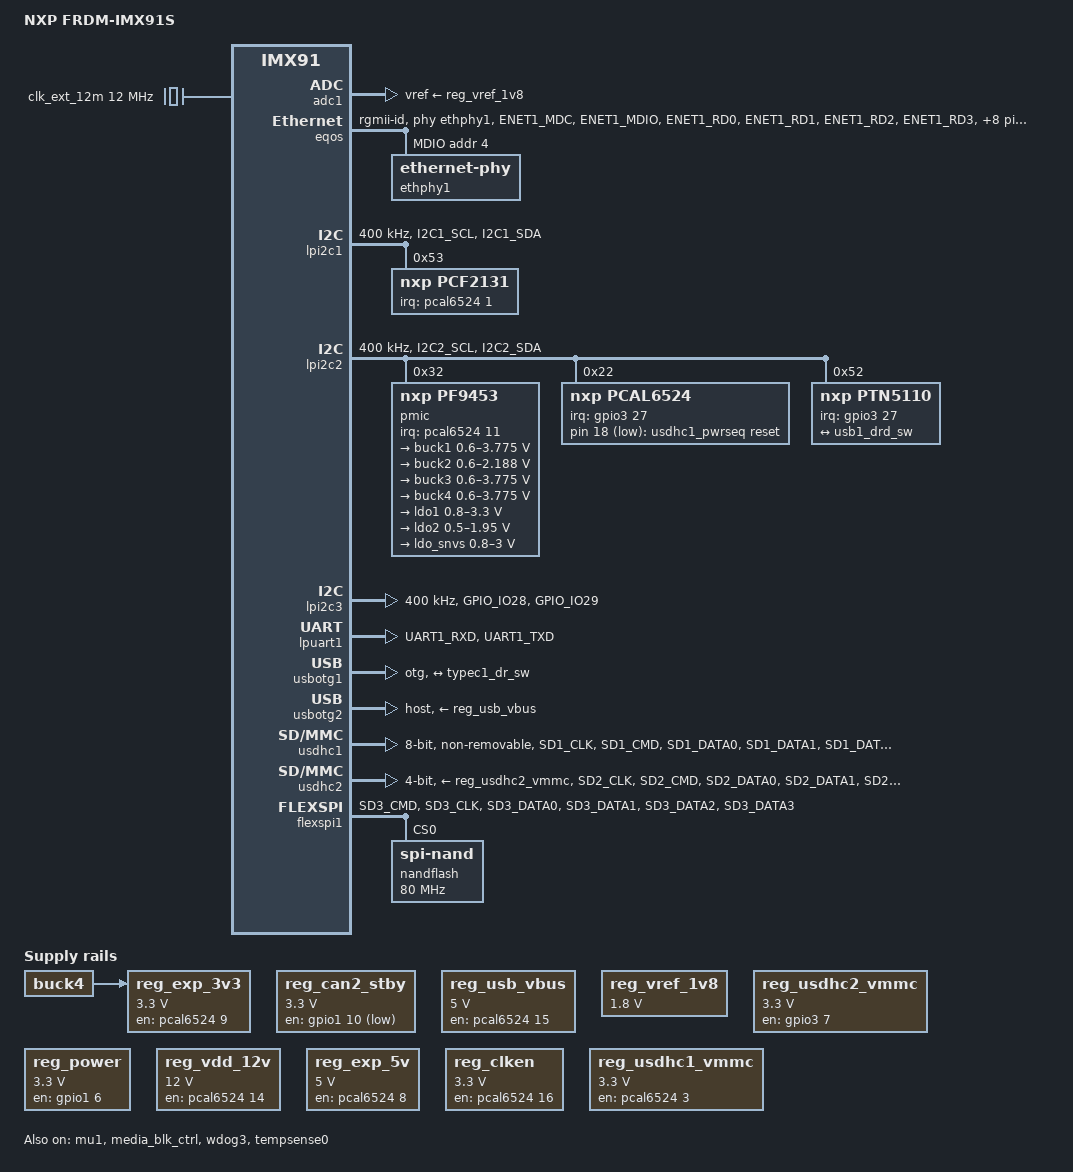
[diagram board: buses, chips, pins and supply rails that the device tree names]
// SPDX-License-Identifier: (GPL-2.0+ OR MIT)
/*
 * Copyright 2025 NXP
 */

/dts-v1/;

#include <dt-bindings/usb/pd.h>
#include "imx91.dtsi"

/ {
	model = "NXP FRDM-IMX91S";
	compatible = "fsl,frdm-imx91s", "fsl,imx91";

	aliases {
		rtc0 = &pcf2131;
	};

	chosen {
		stdout-path = &lpuart1;
	};

	reserved-memory {
		#address-cells = <2>;
		#size-cells = <2>;
		ranges;

		linux,cma {
			compatible = "shared-dma-pool";
			reusable;
			alloc-ranges = <0 0x80000000 0 0x20000000>;
			size = <0 0x2000000>;
			linux,cma-default;
		};
	};

	reg_can2_stby: regulator-can2-stby {
		compatible = "regulator-fixed";
		regulator-name = "can2-stby";
		regulator-min-microvolt = <3300000>;
		regulator-max-microvolt = <3300000>;
		gpio = <&gpio1 10 GPIO_ACTIVE_LOW>;
		enable-active-low;
	};

	reg_usb_vbus: regulator-vbus {
		compatible = "regulator-fixed";
		regulator-name = "USB_VBUS";
		regulator-min-microvolt = <5000000>;
		regulator-max-microvolt = <5000000>;
		gpio = <&pcal6524 15 GPIO_ACTIVE_HIGH>;
		enable-active-high;
	};

	reg_vref_1v8: regulator-adc-vref {
		compatible = "regulator-fixed";
		regulator-name = "vref_1v8";
		regulator-min-microvolt = <1800000>;
		regulator-max-microvolt = <1800000>;
	};

	reg_usdhc2_vmmc: regulator-usdhc2 {
		compatible = "regulator-fixed";
		pinctrl-names = "default";
		pinctrl-0 = <&pinctrl_reg_usdhc2_vmmc>;
		regulator-name = "VSD_3V3";
		regulator-min-microvolt = <3300000>;
		regulator-max-microvolt = <3300000>;
		gpio = <&gpio3 7 GPIO_ACTIVE_HIGH>;
		off-on-delay-us = <12000>;
		enable-active-high;
	};

	reg_power: regulator-power{
		compatible = "regulator-fixed";
		pinctrl-names = "default";
		pinctrl-0 = <&pinctrl_power>;
		regulator-name = "UART2_RXD_3V3";
		regulator-min-microvolt = <3300000>;
		regulator-max-microvolt = <3300000>;
		gpio = <&gpio1 6 GPIO_ACTIVE_HIGH>;
		off-on-delay-us = <12000>;
		enable-active-high;
		regulator-boot-on;
		regulator-always-on;
	};

	reg_vdd_12v: regulator-vdd-12v {
		compatible = "regulator-fixed";
		regulator-name = "reg_vdd_12v";
		regulator-min-microvolt = <12000000>;
		regulator-max-microvolt = <12000000>;
		gpio = <&pcal6524 14 GPIO_ACTIVE_HIGH>;
		enable-active-high;
	};

	reg_exp_3v3: regulator-exp-3v3 {
		compatible = "regulator-fixed";
		regulator-name = "EXP_3V3";
		gpio = <&pcal6524 9 GPIO_ACTIVE_HIGH>;
		regulator-min-microvolt = <3300000>;
		regulator-max-microvolt = <3300000>;
		enable-active-high;
		vin-supply = <&buck4>;
	};

	reg_exp_5v: regulator-exp-5v {
		compatible = "regulator-fixed";
		regulator-name = "EXP_5V";
		gpio = <&pcal6524 8 GPIO_ACTIVE_HIGH>;
		regulator-min-microvolt = <5000000>;
		regulator-max-microvolt = <5000000>;
		enable-active-high;
	};

	reg_clken: regulator-clken-3.3 {
		compatible = "regulator-fixed";
		regulator-name = "clken_3.3V";
		gpio = <&pcal6524 16 GPIO_ACTIVE_HIGH>;
		regulator-min-microvolt = <3300000>;
		regulator-max-microvolt = <3300000>;
		enable-active-high;
		regulator-boot-on;
		regulator-always-on;
	};

	reg_usdhc1_vmmc: regulator-usdhc1 {
		compatible = "regulator-fixed";
		regulator-name = "WLAN_EN";
		regulator-min-microvolt = <3300000>;
		regulator-max-microvolt = <3300000>;
		gpio = <&pcal6524 3 GPIO_ACTIVE_HIGH>;
		/*
		 * IW612 wifi chip needs more delay than other wifi chips to complete
		 * the host interface initialization after power up, otherwise the
		 * internal state of IW612 may be unstable, resulting in the failure of
		 * the SDIO3.0 switch voltage.
		 */
		startup-delay-us = <20000>;
		enable-active-high;
	};

	usdhc1_pwrseq: usdhc1_pwrseq {
		compatible = "mmc-pwrseq-simple";
		reset-gpios = <&pcal6524 18 GPIO_ACTIVE_LOW>;
	};

	clk_ext_12m: clock@0 {
		compatible = "fixed-clock";
		#clock-cells = <0>;
		clock-frequency = <12000000>;
	};
};

&adc1 {
	vref-supply = <&reg_vref_1v8>;
	status = "okay";
};

&mu1 {
	status = "okay";
};

&eqos {
	pinctrl-names = "default";
	pinctrl-0 = <&pinctrl_eqos>;
	phy-mode = "rgmii-id";
	phy-handle = <&ethphy1>;
	status = "okay";

	mdio {
		compatible = "snps,dwmac-mdio";
		#address-cells = <1>;
		#size-cells = <0>;
		clock-frequency = <5000000>;

		ethphy1: ethernet-phy@4 {
			reg = <4>;
			eee-broken-1000t;
		};
	};
};

&lpi2c1 {
	#address-cells = <1>;
	#size-cells = <0>;
	clock-frequency = <400000>;
	pinctrl-names = "default", "sleep";
	pinctrl-0 = <&pinctrl_lpi2c1>;
	pinctrl-1 = <&pinctrl_lpi2c1>;
	status = "okay";

	pcf2131: rtc@53 {
		 compatible = "nxp,pcf2131";
		 reg = <0x53>;
		 interrupt-parent = <&pcal6524>;
		 interrupts = <1 IRQ_TYPE_LEVEL_LOW>;
		 status = "okay";
	 };

};

&lpi2c2 {
	#address-cells = <1>;
	#size-cells = <0>;
	clock-frequency = <400000>;
	pinctrl-names = "default", "sleep";
	pinctrl-0 = <&pinctrl_lpi2c2>;
	pinctrl-1 = <&pinctrl_lpi2c2>;
	status = "okay";

	pmic@32 {
		compatible = "nxp,pf9453";
		reg = <0x32>;
		interrupt-parent = <&pcal6524>;
		interrupts = <11 IRQ_TYPE_EDGE_FALLING>;

		regulators {
			buck1: BUCK1 {
				regulator-name = "BUCK1";
				regulator-min-microvolt = <600000>;
				regulator-max-microvolt = <3775000>;
				regulator-boot-on;
				regulator-always-on;
			};

			buck2: BUCK2 {
				regulator-name = "BUCK2";
				regulator-min-microvolt = <600000>;
				regulator-max-microvolt = <2187500>;
				regulator-boot-on;
				regulator-always-on;
				regulator-ramp-delay = <12500>;
			};

			buck3: BUCK3 {
				regulator-name = "BUCK3";
				regulator-min-microvolt = <600000>;
				regulator-max-microvolt = <3775000>;
				regulator-boot-on;
				regulator-always-on;
			};

			buck4: BUCK4{
				regulator-name = "BUCK4";
				regulator-min-microvolt = <600000>;
				regulator-max-microvolt = <3775000>;
				regulator-boot-on;
				regulator-always-on;
			};

			ldo1: LDO1 {
				regulator-name = "LDO1";
				regulator-min-microvolt = <800000>;
				regulator-max-microvolt = <3300000>;
				regulator-boot-on;
				regulator-always-on;
			};

			ldo2: LDO2 {
				regulator-name = "LDO2";
				regulator-min-microvolt = <500000>;
				regulator-max-microvolt = <1950000>;
				regulator-boot-on;
				regulator-always-on;
			};

			ldo_snvs: LDO_SNVS {
				regulator-name = "LDO_SNVS";
				regulator-min-microvolt = <800000>;
				regulator-max-microvolt = <3000000>;
				regulator-boot-on;
				regulator-always-on;
			};
		};
	};

	pcal6524: gpio@22 {
		compatible = "nxp,pcal6524";
		pinctrl-names = "default";
		pinctrl-0 = <&pinctrl_pcal6524>;
		reg = <0x22>;
		gpio-controller;
		#gpio-cells = <2>;
		interrupt-controller;
		#interrupt-cells = <2>;
		interrupt-parent = <&gpio3>;
		interrupts = <27 IRQ_TYPE_LEVEL_LOW>;
	};

	ptn5110: tcpc@52 {
		compatible = "nxp,ptn5110";
		reg = <0x52>;
		interrupt-parent = <&gpio3>;
		interrupts = <27 IRQ_TYPE_LEVEL_LOW>;
		status = "okay";

		port {
			typec1_dr_sw: endpoint {
				remote-endpoint = <&usb1_drd_sw>;
			};
		};

		typec1_con: connector {
			compatible = "usb-c-connector";
			label = "USB-C";
			power-role = "dual";
			data-role = "dual";
			try-power-role = "sink";
			source-pdos = <PDO_FIXED(5000, 3000, PDO_FIXED_USB_COMM)>;
			sink-pdos = <PDO_FIXED(5000, 3000, PDO_FIXED_USB_COMM)
				     PDO_VAR(5000, 20000, 3000)>;
			op-sink-microwatt = <15000000>;
			self-powered;
		};
	};
};

&lpi2c3 {
	#address-cells = <1>;
	#size-cells = <0>;
	clock-frequency = <400000>;
	pinctrl-names = "default", "sleep";
	pinctrl-0 = <&pinctrl_lpi2c3>;
	pinctrl-1 = <&pinctrl_lpi2c3>;
	status = "okay";
};

&lpuart1 { /* console */
	pinctrl-names = "default";
	pinctrl-0 = <&pinctrl_uart1>;
	status = "okay";
};

&media_blk_ctrl {
	status = "okay";
};

&usbotg1 {
	dr_mode = "otg";
	hnp-disable;
	srp-disable;
	adp-disable;
	usb-role-switch;
	disable-over-current;
	samsung,picophy-pre-emp-curr-control = <3>;
	samsung,picophy-dc-vol-level-adjust = <7>;
	status = "okay";

	port {
		usb1_drd_sw: endpoint {
			remote-endpoint = <&typec1_dr_sw>;
		};
	};
};

&usbotg2 {
	dr_mode = "host";
	vbus-supply = <&reg_usb_vbus>;
	disable-over-current;
	samsung,picophy-pre-emp-curr-control = <3>;
	samsung,picophy-dc-vol-level-adjust = <7>;
	status = "okay";
};

&usdhc1 {
	pinctrl-names = "default", "state_100mhz", "state_200mhz";
	pinctrl-0 = <&pinctrl_usdhc1>;
	pinctrl-1 = <&pinctrl_usdhc1_100mhz>;
	pinctrl-2 = <&pinctrl_usdhc1_200mhz>;
	bus-width = <8>;
	non-removable;
	status = "okay";
};

&usdhc2 {
	pinctrl-names = "default", "state_100mhz", "state_200mhz";
	pinctrl-0 = <&pinctrl_usdhc2>, <&pinctrl_usdhc2_gpio>;
	pinctrl-1 = <&pinctrl_usdhc2_100mhz>, <&pinctrl_usdhc2_gpio>;
	pinctrl-2 = <&pinctrl_usdhc2_200mhz>, <&pinctrl_usdhc2_gpio>;
	cd-gpios = <&gpio3 00 GPIO_ACTIVE_LOW>;
	vmmc-supply = <&reg_usdhc2_vmmc>;
	bus-width = <4>;
	status = "okay";
	no-sdio;
	no-mmc;
};

&usdhc3 {
	status = "disabled";
};

&wdog3 {
	status = "okay";
};

&flexspi1 {
	pinctrl-names = "default";
	pinctrl-0 = <&pinctrl_flexspi>;
	assigned-clock-rates = <80000000>;
	status = "okay";

	nandflash: flash@0 {
		reg = <0>;
		#address-cells = <1>;
		#size-cells = <1>;
		compatible = "spi-nand";
		spi-max-frequency = <80000000>;
		spi-tx-bus-width = <4>;
		spi-rx-bus-width = <4>;
	};
};

&tempsense0 {
	status = "okay";
};

&iomuxc {
	pinctrl_eqos: eqosgrp {
		fsl,pins = <
			MX91_PAD_ENET1_MDC__ENET1_MDC			0x57e
			MX91_PAD_ENET1_MDIO__ENET_QOS_MDIO			0x57e
			MX91_PAD_ENET1_RD0__ENET_QOS_RGMII_RD0			0x57e
			MX91_PAD_ENET1_RD1__ENET_QOS_RGMII_RD1			0x57e
			MX91_PAD_ENET1_RD2__ENET_QOS_RGMII_RD2			0x57e
			MX91_PAD_ENET1_RD3__ENET_QOS_RGMII_RD3			0x57e
			MX91_PAD_ENET1_RXC__ENET_QOS_RGMII_RXC	0x5fe
			MX91_PAD_ENET1_RX_CTL__ENET_QOS_RGMII_RX_CTL		0x57e
			MX91_PAD_ENET1_TD0__ENET_QOS_RGMII_TD0			0x57e
			MX91_PAD_ENET1_TD1__ENET1_RGMII_TD1			0x57e
			MX91_PAD_ENET1_TD2__ENET_QOS_RGMII_TD2			0x57e
			MX91_PAD_ENET1_TD3__ENET_QOS_RGMII_TD3			0x57e
			MX91_PAD_ENET1_TXC__CCM_ENET_QOS_CLOCK_GENERATE_TX_CLK	0x5fe
			MX91_PAD_ENET1_TX_CTL__ENET_QOS_RGMII_TX_CTL		0x57e
		>;
	};

	pinctrl_flexspi: flexspigrp {
		fsl,pins = <
			MX91_PAD_SD3_CMD__FLEXSPI1_A_SS0_B      0x3fe
			MX91_PAD_SD3_CLK__FLEXSPI1_A_SCLK       0x3fe
			MX91_PAD_SD3_DATA0__FLEXSPI1_A_DATA0   0x3fe
			MX91_PAD_SD3_DATA1__FLEXSPI1_A_DATA1   0x3fe
			MX91_PAD_SD3_DATA2__FLEXSPI1_A_DATA2   0x3fe
			MX91_PAD_SD3_DATA3__FLEXSPI1_A_DATA3   0x3fe
		>;
	 };

	pinctrl_power: power {
		fsl,pins = <
			MX91_PAD_UART2_RXD__GPIO1_IO6              0x0000051E
			>;
	};

	pinctrl_fec: fecgrp {
		fsl,pins = <
			MX91_PAD_ENET2_MDC__ENET2_MDC			0x57e
			MX91_PAD_ENET2_MDIO__ENET2_MDIO			0x57e
			MX91_PAD_ENET2_RD0__ENET2_RGMII_RD0		0x57e
			MX91_PAD_ENET2_RD1__ENET2_RGMII_RD1		0x57e
			MX91_PAD_ENET2_RD2__ENET2_RGMII_RD2		0x57e
			MX91_PAD_ENET2_RD3__ENET2_RGMII_RD3		0x57e
			MX91_PAD_ENET2_RXC__ENET2_RGMII_RXC		0x5fe
			MX91_PAD_ENET2_RX_CTL__ENET2_RGMII_RX_CTL	0x57e
			MX91_PAD_ENET2_TD0__ENET2_RGMII_TD0		0x57e
			MX91_PAD_ENET2_TD1__ENET2_RGMII_TD1		0x57e
			MX91_PAD_ENET2_TD2__ENET2_RGMII_TD2		0x57e
			MX91_PAD_ENET2_TD3__ENET2_RGMII_TD3		0x57e
			MX91_PAD_ENET2_TXC__ENET2_RGMII_TXC		0x5fe
			MX91_PAD_ENET2_TX_CTL__ENET2_RGMII_TX_CTL	0x57e
		>;
	};

	pinctrl_lcdif: lcdifgrp {
		fsl,pins = <
			MX91_PAD_GPIO_IO00__MEDIAMIX_DISP_CLK		0x31e
			MX91_PAD_GPIO_IO01__MEDIAMIX_DISP_DE		0x31e
			MX91_PAD_GPIO_IO02__MEDIAMIX_DISP_VSYNC		0x31e
			MX91_PAD_GPIO_IO03__MEDIAMIX_DISP_HSYNC		0x31e
			MX91_PAD_GPIO_IO04__MEDIAMIX_DISP_DATA0		0x31e
			MX91_PAD_GPIO_IO05__MEDIAMIX_DISP_DATA1		0x31e
			MX91_PAD_GPIO_IO06__MEDIAMIX_DISP_DATA2		0x31e
			MX91_PAD_GPIO_IO07__MEDIAMIX_DISP_DATA3		0x31e
			MX91_PAD_GPIO_IO08__MEDIAMIX_DISP_DATA4		0x31e
			MX91_PAD_GPIO_IO09__MEDIAMIX_DISP_DATA5		0x31e
			MX91_PAD_GPIO_IO10__MEDIAMIX_DISP_DATA6		0x31e
			MX91_PAD_GPIO_IO11__MEDIAMIX_DISP_DATA7		0x31e
			MX91_PAD_GPIO_IO12__MEDIAMIX_DISP_DATA8		0x31e
			MX91_PAD_GPIO_IO13__MEDIAMIX_DISP_DATA9		0x31e
			MX91_PAD_GPIO_IO14__MEDIAMIX_DISP_DATA10	0x31e
			MX91_PAD_GPIO_IO15__MEDIAMIX_DISP_DATA11	0x31e
			MX91_PAD_GPIO_IO16__MEDIAMIX_DISP_DATA12	0x31e
			MX91_PAD_GPIO_IO17__MEDIAMIX_DISP_DATA13	0x31e
			MX91_PAD_GPIO_IO18__MEDIAMIX_DISP_DATA14	0x31e
			MX91_PAD_GPIO_IO19__MEDIAMIX_DISP_DATA15	0x31e
			MX91_PAD_GPIO_IO20__MEDIAMIX_DISP_DATA16	0x31e
			MX91_PAD_GPIO_IO21__MEDIAMIX_DISP_DATA17	0x31e
		>;
	};

	pinctrl_lcdif_gpio: lcdifgpiogrp {
		fsl,pins = <
			MX91_PAD_GPIO_IO00__GPIO2_IO0			0x31e
			MX91_PAD_GPIO_IO01__GPIO2_IO1			0x31e
			MX91_PAD_GPIO_IO02__GPIO2_IO2			0x31e
			MX91_PAD_GPIO_IO03__GPIO2_IO3			0x31e
		>;
	};

	pinctrl_lpi2c1: lpi2c1grp {
		fsl,pins = <
			MX91_PAD_I2C1_SCL__LPI2C1_SCL			0x40000b9e
			MX91_PAD_I2C1_SDA__LPI2C1_SDA			0x40000b9e
		>;
	};

	pinctrl_lpi2c2: lpi2c2grp {
		fsl,pins = <
			MX91_PAD_I2C2_SCL__LPI2C2_SCL			0x40000b9e
			MX91_PAD_I2C2_SDA__LPI2C2_SDA			0x40000b9e
		>;
	};

	pinctrl_lpi2c3: lpi2c3grp {
		fsl,pins = <
			MX91_PAD_GPIO_IO28__LPI2C3_SDA			0x40000b9e
			MX91_PAD_GPIO_IO29__LPI2C3_SCL			0x40000b9e
		>;
	};

	pinctrl_pcal6524: pcal6524grp {
		fsl,pins = <
			MX91_PAD_CCM_CLKO2__GPIO3_IO27			0x31e
		>;
	};

	pinctrl_uart1: uart1grp {
		fsl,pins = <
			MX91_PAD_UART1_RXD__LPUART1_RX			0x31e
			MX91_PAD_UART1_TXD__LPUART1_TX			0x31e
		>;
	};

	/* need to config the SION for data and cmd pad, refer to ERR052021 */
	pinctrl_usdhc1: usdhc1grp {
		fsl,pins = <
			MX91_PAD_SD1_CLK__USDHC1_CLK		0x1582
			MX91_PAD_SD1_CMD__USDHC1_CMD		0x40001382
			MX91_PAD_SD1_DATA0__USDHC1_DATA0	0x40001382
			MX91_PAD_SD1_DATA1__USDHC1_DATA1	0x40001382
			MX91_PAD_SD1_DATA2__USDHC1_DATA2	0x40001382
			MX91_PAD_SD1_DATA3__USDHC1_DATA3	0x40001382
			MX91_PAD_SD1_DATA4__GPIO3_IO14		0x031E
			MX91_PAD_SD1_STROBE__GPIO3_IO18		0x031E
		>;
	};

	/* need to config the SION for data and cmd pad, refer to ERR052021 */
	pinctrl_usdhc1_100mhz: usdhc1-100mhzgrp {
		fsl,pins = <
			MX91_PAD_SD1_CLK__USDHC1_CLK		0x158e
			MX91_PAD_SD1_CMD__USDHC1_CMD		0x4000138e
			MX91_PAD_SD1_DATA0__USDHC1_DATA0	0x4000138e
			MX91_PAD_SD1_DATA1__USDHC1_DATA1	0x4000138e
			MX91_PAD_SD1_DATA2__USDHC1_DATA2	0x4000138e
			MX91_PAD_SD1_DATA3__USDHC1_DATA3	0x4000138e
			MX91_PAD_SD1_DATA4__GPIO3_IO14		0x031E
			MX91_PAD_SD1_STROBE__GPIO3_IO18		0x031E
		>;
	};

	/* need to config the SION for data and cmd pad, refer to ERR052021 */
	pinctrl_usdhc1_200mhz: usdhc1-200mhzgrp {
		fsl,pins = <
			MX91_PAD_SD1_CLK__USDHC1_CLK		0x15fe
			MX91_PAD_SD1_CMD__USDHC1_CMD		0x400013fe
			MX91_PAD_SD1_DATA0__USDHC1_DATA0	0x400013fe
			MX91_PAD_SD1_DATA1__USDHC1_DATA1	0x400013fe
			MX91_PAD_SD1_DATA2__USDHC1_DATA2	0x400013fe
			MX91_PAD_SD1_DATA3__USDHC1_DATA3	0x400013fe
			MX91_PAD_SD1_DATA4__GPIO3_IO14		0x031E
			MX91_PAD_SD1_STROBE__GPIO3_IO18		0x031E
		>;
	};

	pinctrl_reg_usdhc2_vmmc: regusdhc2vmmcgrp {
		fsl,pins = <
			MX91_PAD_SD2_RESET_B__GPIO3_IO7		0x31e
		>;
	};

	pinctrl_usdhc2_gpio: usdhc2gpiogrp {
		fsl,pins = <
			MX91_PAD_SD2_CD_B__GPIO3_IO0		0x31e
		>;
	};

	pinctrl_usdhc2_gpio_sleep: usdhc2gpiogrpsleep {
		fsl,pins = <
			MX91_PAD_SD2_CD_B__GPIO3_IO0		0x51e
		>;
	};

	/* need to config the SION for data and cmd pad, refer to ERR052021 */
	pinctrl_usdhc2: usdhc2grp {
		fsl,pins = <
			MX91_PAD_SD2_CLK__USDHC2_CLK		0x1582
			MX91_PAD_SD2_CMD__USDHC2_CMD		0x40001382
			MX91_PAD_SD2_DATA0__USDHC2_DATA0	0x40001382
			MX91_PAD_SD2_DATA1__USDHC2_DATA1	0x40001382
			MX91_PAD_SD2_DATA2__USDHC2_DATA2	0x40001382
			MX91_PAD_SD2_DATA3__USDHC2_DATA3	0x40001382
			MX91_PAD_SD2_VSELECT__USDHC2_VSELECT	0x51e
		>;
	};

	/* need to config the SION for data and cmd pad, refer to ERR052021 */
	pinctrl_usdhc2_100mhz: usdhc2-100mhzgrp {
		fsl,pins = <
			MX91_PAD_SD2_CLK__USDHC2_CLK		0x158e
			MX91_PAD_SD2_CMD__USDHC2_CMD		0x4000138e
			MX91_PAD_SD2_DATA0__USDHC2_DATA0	0x4000138e
			MX91_PAD_SD2_DATA1__USDHC2_DATA1	0x4000138e
			MX91_PAD_SD2_DATA2__USDHC2_DATA2	0x4000138e
			MX91_PAD_SD2_DATA3__USDHC2_DATA3	0x4000138e
			MX91_PAD_SD2_VSELECT__USDHC2_VSELECT	0x51e
		>;
	};

	/* need to config the SION for data and cmd pad, refer to ERR052021 */
	pinctrl_usdhc2_200mhz: usdhc2-200mhzgrp {
		fsl,pins = <
			MX91_PAD_SD2_CLK__USDHC2_CLK		0x15fe
			MX91_PAD_SD2_CMD__USDHC2_CMD		0x400013fe
			MX91_PAD_SD2_DATA0__USDHC2_DATA0	0x400013fe
			MX91_PAD_SD2_DATA1__USDHC2_DATA1	0x400013fe
			MX91_PAD_SD2_DATA2__USDHC2_DATA2	0x400013fe
			MX91_PAD_SD2_DATA3__USDHC2_DATA3	0x400013fe
			MX91_PAD_SD2_VSELECT__USDHC2_VSELECT	0x51e
		>;
	};
};
